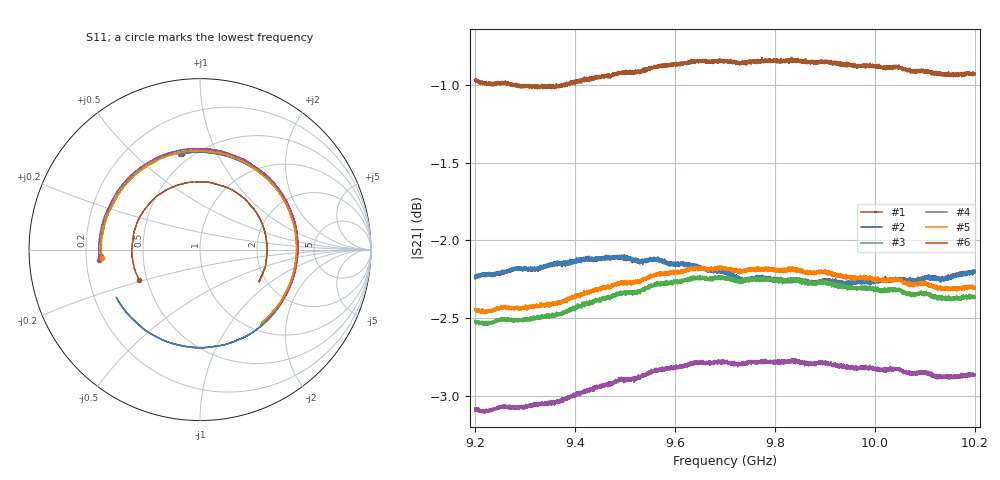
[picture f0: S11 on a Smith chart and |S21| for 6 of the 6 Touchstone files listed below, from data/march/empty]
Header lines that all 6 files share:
!Agilent Technologies,N5242A,MY51221714,A.09.90.19
!Agilent N5242A: A.09.90.19
!Correction: S11(Full 2 Port(1,2))
!S21(Full 2 Port(1,2))
!S12(Full 2 Port(1,2))
!S22(Full 2 Port(1,2))
!S2P File: Measurements: S11, S21, S12, S22:
# Hz S  dB  R 50
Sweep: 9.2 GHz to 10.2 GHz
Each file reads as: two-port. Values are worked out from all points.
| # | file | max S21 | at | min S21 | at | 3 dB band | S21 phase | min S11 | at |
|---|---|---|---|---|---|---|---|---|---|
| 1 | d0_1.s2p | -2.09 dB | 9.498 GHz | -2.3 dB | 9.933 GHz | 9.2 GHz-10.2 GHz | -40 deg at 9.7 GHz | -5.0 dB | 10.2 GHz |
| 2 | d0_2.s2p | -2.10 dB | 9.485 GHz | -2.3 dB | 9.936 GHz | 9.2 GHz-10.2 GHz | -40 deg at 9.7 GHz | -5.0 dB | 10.2 GHz |
| 3 | d4_1.s2p | -2.23 dB | 9.65 GHz | -2.5 dB | 9.223 GHz | 9.2 GHz-10.2 GHz | -41 deg at 9.7 GHz | -5.0 dB | 10.19 GHz |
| 4 | d4_2.s2p | -2.76 dB | 9.835 GHz | -3.1 dB | 9.22 GHz | 9.2 GHz-10.2 GHz | -42 deg at 9.7 GHz | -5.0 dB | 10.19 GHz |
| 5 | d6_2.s2p | -2.16 dB | 9.689 GHz | -2.5 dB | 9.22 GHz | 9.2 GHz-10.2 GHz | -40 deg at 9.7 GHz | -5.1 dB | 10.15 GHz |
| 6 | fp.s2p | -0.82 dB | 9.833 GHz | -1.0 dB | 9.325 GHz | 9.2 GHz-10.2 GHz | -26 deg at 9.7 GHz | -8.2 dB | 10.04 GHz |
